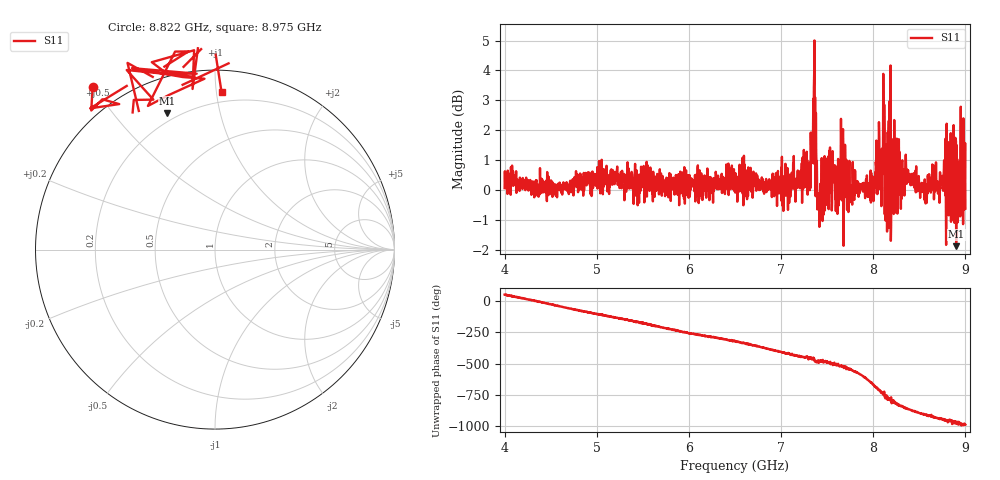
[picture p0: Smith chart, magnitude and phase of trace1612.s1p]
! Created with skrf 1.8.0 (http://scikit-rf.org).
# Hz S RI R 50.0
!freq ReS11 ImS11
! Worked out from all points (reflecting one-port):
!   1601 points, 4 GHz to 9 GHz, reference 50 ohm
!   lowest |S11| = -1.9 dB at 8.9 GHz (marker M1), VSWR 9.29, Z = 8.05 + j34.9 ohm
!   phase of S11 starts at 51 deg and turns -1040 deg over the sweep
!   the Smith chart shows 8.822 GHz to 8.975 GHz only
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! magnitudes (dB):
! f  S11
! 4 GHz  0.1
! 4.625 GHz  -0.2
! 5.25 GHz  0.1
! 5.875 GHz  0.1
! 6.5 GHz  0.5
! 7.125 GHz  0.3
! 7.294 GHz  0.2
! 7.328 GHz  1.1
! 7.347 GHz  2.0
! 7.366 GHz  2.5
! 7.4 GHz  -0.3
! 7.425 GHz  0.2
! 7.538 GHz  1.0
! 7.609 GHz  0.1
! 7.662 GHz  0.7
! 7.75 GHz  0.1
! 7.962 GHz  -0.2
! 8.119 GHz  2.9
! 8.15 GHz  -1.4
! 8.162 GHz  1.2
! 8.216 GHz  1.2
! 8.234 GHz  0.4
! 8.375 GHz  0.6
! 8.556 GHz  -0.3
! 8.791 GHz  -1.8
! 8.9 GHz  -1.9
! 8.972 GHz  0.7
! 9 GHz  -0.6
